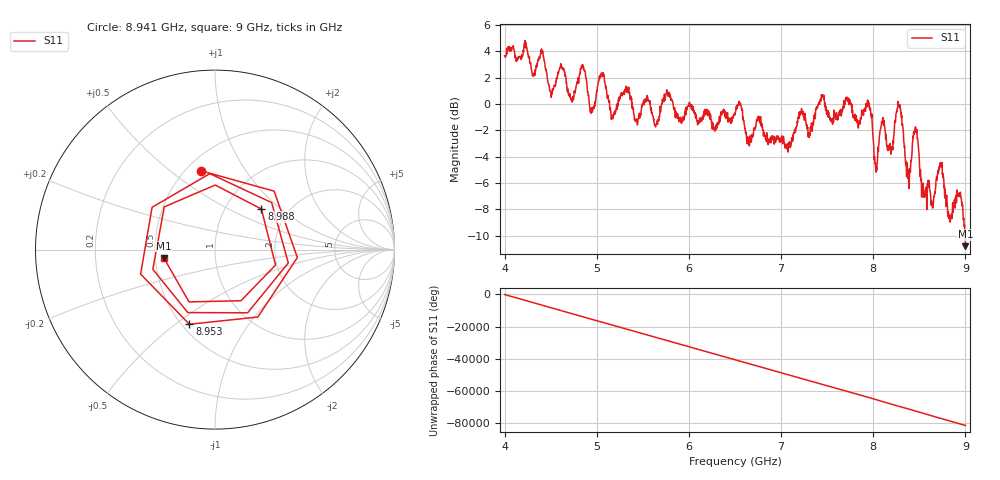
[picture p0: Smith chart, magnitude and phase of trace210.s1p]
! Created with skrf 1.8.0 (http://scikit-rf.org).
# Hz S RI R 50.0
!freq ReS11 ImS11
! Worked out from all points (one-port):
!   1601 points, 4 GHz to 9 GHz, reference 50 ohm
!   lowest |S11| = -10.8 dB at 9 GHz (marker M1), VSWR 1.81, Z = 27.7 - j2.81 ohm
!   |S11| at or under -10 dB: 8.997717 GHz to end of sweep
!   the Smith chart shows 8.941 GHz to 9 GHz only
!   S11 on the Smith chart (normalised r, x): 8.941 GHz: 0.59, +0.65; 8.953 GHz: 0.55, -0.56; 8.988 GHz: 1.47, +0.75; 9 GHz: 0.55, -0.06
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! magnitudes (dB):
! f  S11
! 4 GHz  3.7
! 4.403 GHz  4.0
! 4.509 GHz  0.8
! 4.625 GHz  2.8
! 4.728 GHz  0.4
! 4.85 GHz  2.9
! 4.944 GHz  -0.3
! 5.053 GHz  2.2
! 5.166 GHz  -0.9
! 5.25 GHz  0.6
! 5.875 GHz  -1.0
! 6.5 GHz  -0.7
! 7.125 GHz  -2.8
! 7.75 GHz  0.2
! 7.959 GHz  -0.3
! 8.031 GHz  -5.2
! 8.094 GHz  -1.4
! 8.188 GHz  -3.5
! 8.284 GHz  -0.2
! 8.375 GHz  -4.9
! 8.456 GHz  -1.9
! 8.556 GHz  -7.0
! 8.728 GHz  -4.5
! 8.831 GHz  -8.9
! 8.941 GHz  -7.0
! 8.953 GHz  -7.1
! 8.988 GHz  -9.3
! 9 GHz  -10.8
